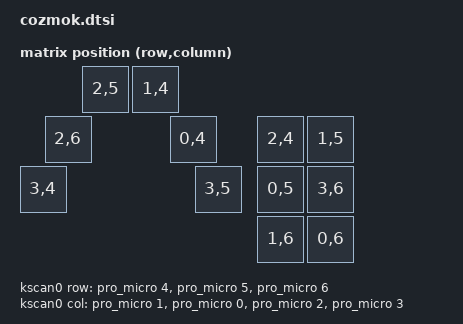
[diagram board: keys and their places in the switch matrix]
#include <dt-bindings/zmk/matrix_transform.h>
#include <physical_layouts.dtsi>
#include <dt-bindings/zmk/bt.h>

/ {
  chosen {
    zmk,physical-layout = &cozmok_physical_layout;
  };

  cozmok_physical_layout: cozmok_physical_layout {
      compatible = "zmk,physical-layout";
      display-name = "Default";
      transform = <&default_transform>;
      kscan = <&kscan0>;

      keys  //                     w   h    x    y     rot    rx    ry
          = 
            <&key_physical_attrs 100 100    0  200       0     0     0>
          , <&key_physical_attrs 100 100   50  100       0     0     0>
          , <&key_physical_attrs 100 100  125    0       0     0     0>
          , <&key_physical_attrs 100 100  225    0       0     0     0>
          , <&key_physical_attrs 100 100  300  100       0     0     0>
          , <&key_physical_attrs 100 100  350  200       0     0     0>
          , <&key_physical_attrs 100 100  475  100       0     0     0>
          , <&key_physical_attrs 100 100  575  100       0     0     0>
          , <&key_physical_attrs 100 100  475  200       0     0     0>
          , <&key_physical_attrs 100 100  575  200       0     0     0>
          , <&key_physical_attrs 100 100  475  300       0     0     0>
          , <&key_physical_attrs 100 100  575  300       0     0     0>
          ;
    };
    
    default_transform: keymap_transform_0 {
      compatible = "zmk,matrix-transform";
      columns = <4>;
      rows = <3>;

      map = <
          RC(3,4) RC(2,6) RC(2,5)  RC(1,4) RC(0,4)
          RC(3,5)         RC(2,4)  RC(1,5) RC(0,5)
          RC(3,6)                  RC(1,6) RC(0,6)
        >;
    };
 
    kscan0: kscan_0 {
        compatible = "zmk,kscan-gpio-matrix";
        wakeup-source;
        diode-direction = "col2row";
        col-gpios
            = <&pro_micro 1 GPIO_ACTIVE_HIGH>
            , <&pro_micro 0 GPIO_ACTIVE_HIGH>
            , <&pro_micro 2 GPIO_ACTIVE_HIGH>
            , <&pro_micro 3 GPIO_ACTIVE_HIGH>
            ;
        row-gpios
            = <&pro_micro 4 (GPIO_ACTIVE_HIGH | GPIO_PULL_DOWN)>
            , <&pro_micro 5 (GPIO_ACTIVE_HIGH | GPIO_PULL_DOWN)>
            , <&pro_micro 6 (GPIO_ACTIVE_HIGH | GPIO_PULL_DOWN)>
            ;
    };
};
